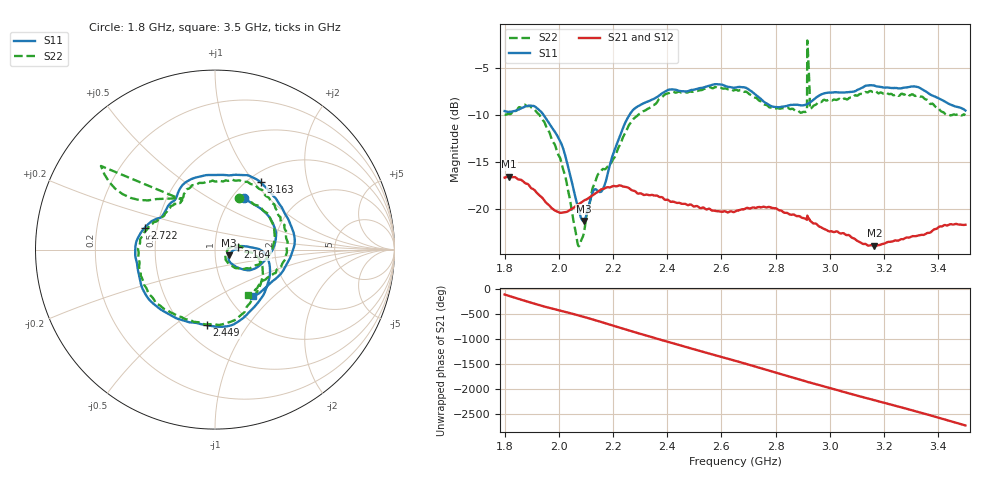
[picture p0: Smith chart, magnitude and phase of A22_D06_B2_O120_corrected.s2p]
! Created with skrf 1.9.0 (http://scikit-rf.org).
# Hz S RI R 50.0
!freq ReS11 ImS11 ReS21 ImS21 ReS12 ImS12 ReS22 ImS22
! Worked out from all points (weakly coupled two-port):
!   1601 points, 1.8 GHz to 3.5 GHz, reference 50 ohm
!   highest |S21| = -16.60 dB at 1.817 GHz (marker M1); lowest = -24.0 dB at 3.164 GHz (marker M2)
!   lowest |S11| = -21.3 dB at 2.091 GHz (marker M3), VSWR 1.19, Z = 58.5 - j3.87 ohm
!   |S11| at or under -10 dB: 1.944 GHz to 2.261 GHz (317 MHz wide, 15.1 % of centre)
!   |S22| runs from -24.0 to -2.1 dB; largest |S21 - S12| = 0.0025
!   S11 on the Smith chart (normalised r, x): 1.8 GHz: 1.13, +0.73; 2.164 GHz: 1.29, +0.04; 2.449 GHz: 0.65, -0.66; 2.722 GHz: 0.43, +0.13; 3.163 GHz: 1.14, +1.08; 3.5 GHz: 1.29, -0.75
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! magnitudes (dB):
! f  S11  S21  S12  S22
! 1.8 GHz  -9.6  -16.7  -16.7  -10.0
! 1.817 GHz  -9.7  -16.6  -16.6  -9.9
! 1.88 GHz  -9.1  -17.3  -17.3  -9.0
! 1.943 GHz  -10.0  -19.0  -19.0  -10.6
! 2.013 GHz  -13.3  -20.4  -20.4  -15.4
! 2.068 GHz  -19.5  -19.6  -19.6  -23.5
! 2.084 GHz  -21.1  -19.3  -19.3  -23.3
! 2.091 GHz  -21.3  -19.2  -19.2  -22.8
! 2.128 GHz  -18.1  -18.5  -18.5  -17.5
! 2.164 GHz  -17.8  -17.9  -17.8  -15.8
! 2.258 GHz  -10.1  -17.8  -17.8  -11.1
! 2.367 GHz  -8.0  -18.7  -18.6  -8.4
! 2.449 GHz  -7.5  -19.4  -19.4  -7.6
! 2.65 GHz  -7.1  -20.3  -20.3  -7.3
! 2.722 GHz  -7.8  -19.9  -19.8  -8.2
! 2.903 GHz  -9.0  -21.0  -21.0  -9.7
! 2.925 GHz  -8.7  -21.2  -21.2  -7.3
! 2.934 GHz  -8.5  -21.4  -21.4  -9.2
! 3.163 GHz  -6.9  -24.0  -23.9  -7.5
! 3.164 GHz  -6.9  -24.0  -23.9  -7.5
! 3.217 GHz  -7.1  -23.5  -23.5  -7.8
! 3.5 GHz  -9.5  -21.7  -21.7  -10.0
